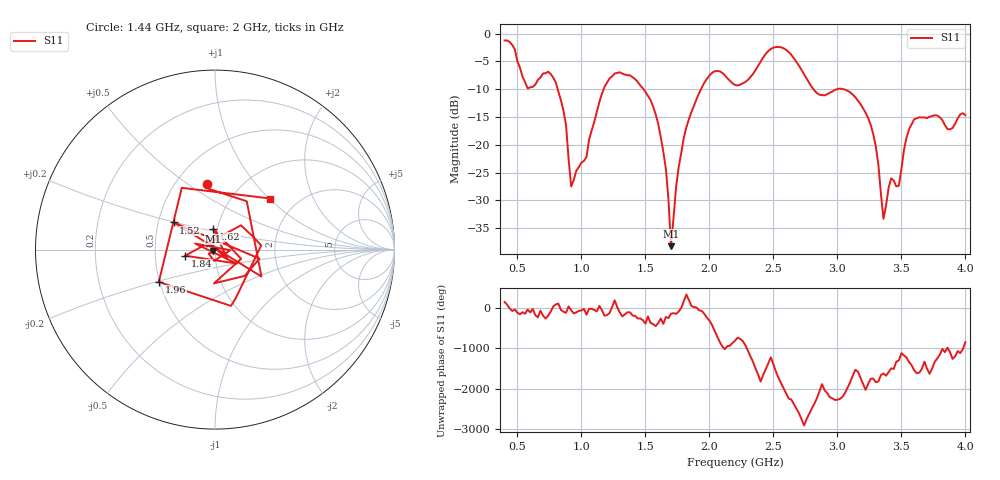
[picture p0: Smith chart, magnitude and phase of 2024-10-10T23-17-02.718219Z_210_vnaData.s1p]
! Created with skrf (http://scikit-rf.org).
# Hz S RI R 50.0
!freq ReS11 ImS11
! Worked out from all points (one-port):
!   181 points, 400 MHz to 4 GHz, reference 50 ohm
!   lowest |S11| = -38.2 dB at 1.7 GHz (marker M1), VSWR 1.02, Z = 49 - j0.699 ohm
!   |S11| at or under -10 dB: 814.7 MHz to 1.174 GHz (358.8 MHz wide, 36.1 % of centre); 1.485 GHz to 1.935 GHz (449.5 MHz wide, 26.3 % of centre); 3.043 GHz to end of sweep (the widest 3 of 4)
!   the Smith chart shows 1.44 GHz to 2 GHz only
!   S11 on the Smith chart (normalised r, x): 1.44 GHz: 0.71, +0.60; 1.52 GHz: 0.60, +0.20; 1.62 GHz: 0.95, +0.23; 1.84 GHz: 0.71, -0.05; 1.96 GHz: 0.49, -0.21; 2 GHz: 1.47, +1.02
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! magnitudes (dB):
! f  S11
! 400 MHz  -1.2
! 580 MHz  -9.8
! 760 MHz  -7.3
! 860 MHz  -13.9
! 920 MHz  -27.5
! 1.04 GHz  -22.2
! 1.18 GHz  -9.6
! 1.3 GHz  -7.0
! 1.44 GHz  -8.7
! 1.52 GHz  -11.2
! 1.62 GHz  -18.6
! 1.66 GHz  -24.3
! 1.7 GHz  -38.2
! 1.76 GHz  -24.0
! 1.84 GHz  -15.4
! 1.96 GHz  -8.8
! 2 GHz  -7.6
! 2.2 GHz  -9.2
! 2.5 GHz  -2.5
! 2.66 GHz  -4.5
! 2.86 GHz  -11.0
! 3.1 GHz  -10.6
! 3.28 GHz  -18.1
! 3.36 GHz  -33.3
! 3.42 GHz  -26.0
! 3.48 GHz  -27.4
! 3.56 GHz  -17.2
! 4 GHz  -14.7
